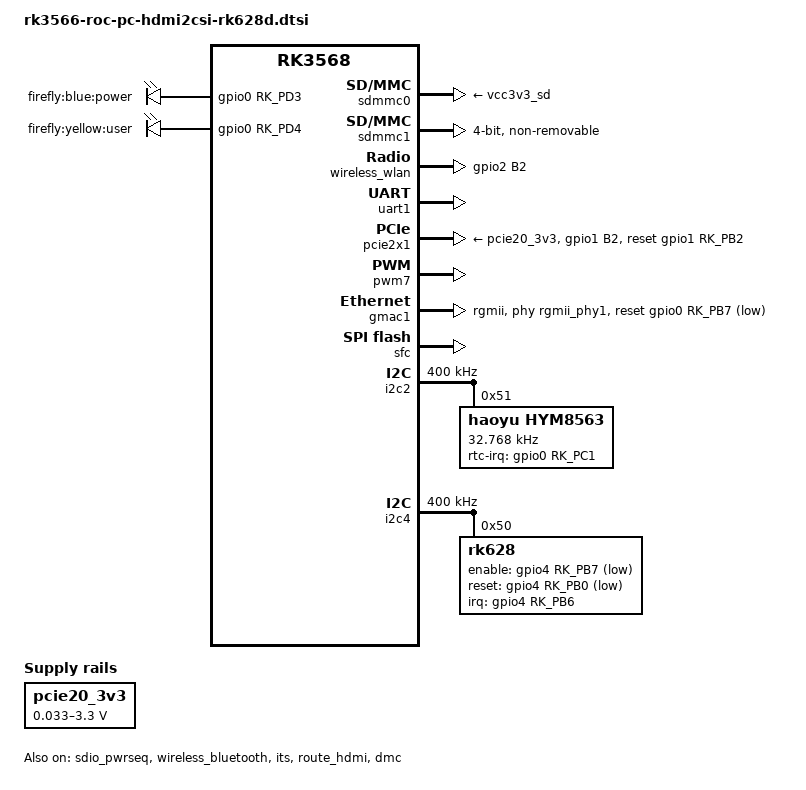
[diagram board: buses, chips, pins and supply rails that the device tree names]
// SPDX-License-Identifier: (GPL-2.0+ OR MIT)
/*
 * Copyright (c) 2020 Rockchip Electronics Co., Ltd.
 *
 */

#include "rk3568-firefly-port.dtsi"
#include "rk3566-diff.dtsi"

/ {
    /delete-node/ gpio-regulator;
	pcie20_3v3: gpio-regulator {
		compatible = "regulator-gpio";
		regulator-name = "pcie20_3v3";
		regulator-min-microvolt = <0100000>;
		regulator-max-microvolt = <3300000>;
		gpios = <&gpio0 RK_PC4 GPIO_ACTIVE_HIGH>;
		gpios-states = <0x1>;
		states = <0100000 0x0
			  3300000 0x1>;
	};
    firefly_leds: leds {
       compatible = "gpio-leds";
       power_led: power {
           label = "firefly:blue:power";
           linux,default-trigger = "ir-power-click";
           default-state = "on";
           gpios = <&gpio0 RK_PD3 GPIO_ACTIVE_HIGH>;
           pinctrl-names = "default";
           pinctrl-0 = <&led_power>;
       };
       user_led: user {
           label = "firefly:yellow:user";
           linux,default-trigger = "ir-user-click";
           default-state = "off";
           gpios = <&gpio0 RK_PD4 GPIO_ACTIVE_HIGH>;
           pinctrl-names = "default";
           pinctrl-0 = <&led_user>;
       };
   };

};

&rkcif_mipi_lvds {
        status = "disabled";
};

&rkcif_mmu {
        status = "okay";
};

&rkcif {
        status = "disabled";
};

/* USB vbus config  */
&vcc5v0_host {
    gpio = <&gpio0 RK_PA6 0>;
    pinctrl-names = "default";
    pinctrl-0 = <&vcc5v0_host_vbus_en>;
};
&vcc5v0_otg {
    status = "disabled";
};
&u2phy0_otg {
	/delete-property/ vbus-supply;
};

/* sdcard config */
&sdmmc0 {
    vmmc-supply=<&vcc3v3_sd>;
    //supports-emmc;
    status = "okay";
};

/* WiFi config */
&sdmmc1 {
    max-frequency = <150000000>;
    supports-sdio;
    bus-width = <4>;
    disable-wp;
    cap-sd-highspeed;
    cap-sdio-irq;
    keep-power-in-suspend;
    mmc-pwrseq = <&sdio_pwrseq>;
    non-removable;
    pinctrl-names = "default";
    pinctrl-0 = <&sdmmc1_bus4 &sdmmc1_cmd &sdmmc1_clk>;
    sd-uhs-sdr104;
    rockchip,default-sample-phase = <90>;
    status = "okay";
};

&sdio_pwrseq {
    reset-gpios = <&gpio2 RK_PB1 GPIO_ACTIVE_LOW>;
    status = "okay";
};

&wifi_enable_h {
    rockchip,pins = <2 RK_PB1 RK_FUNC_GPIO &pcfg_pull_none>;
};

// iomux with GPIO2_B2(WIFI,host_wake_irq)
&uart8 {
    status = "disabled";
};

&wireless_wlan {
    wifi_chip_type = "ap6256";
    pinctrl-names = "default";
    pinctrl-0 = <&wifi_host_wake_irq>;
    WIFI,host_wake_irq = <&gpio2 RK_PB2 0>;
    status = "okay";
};

/* BT config */
&uart1 {
    pinctrl-names = "default";
    pinctrl-0 = <&uart1m0_xfer &uart1m0_ctsn>;
    status = "okay";
};

&wireless_bluetooth {
    uart_rts_gpios = <&gpio2 RK_PB5 GPIO_ACTIVE_LOW>;
    pinctrl-names = "default", "rts_gpio";
    pinctrl-0 = <&uart1m0_rtsn
        &bt_host_wake_gpio
        &bt_poweren
        &bt_host_wake_irq>;
    pinctrl-1 = <&uart1_rts_gpio>;
    BT,reset_gpio    = <&gpio2 RK_PB7 GPIO_ACTIVE_HIGH>;
    BT,wake_gpio     = <&gpio2 RK_PC1 GPIO_ACTIVE_HIGH>;
    BT,wake_host_irq = <&gpio2 RK_PC0 GPIO_ACTIVE_HIGH>;
    status = "okay";
};

&rk809_codec {
    hp-ctl-gpios = <&gpio4 RK_PC3 GPIO_ACTIVE_HIGH>;
    /delete-property/ spk-ctl;
    io-channels = <&saradc 3>;
    hp-det-adc-value = <941>;
};

&spk_ctl_gpio{
    status = "disabled";
};
&can1{
	status = "disabled";
};

&pcie2x1 {
    reset-gpios = <&gpio1 RK_PB2 GPIO_ACTIVE_HIGH>;
    pinctrl-names = "default";
    pinctrl-0 = <&pcie_reset_gpio>;
    vpcie3v3-supply = <&pcie20_3v3>;
    status = "okay";
};

&its {
    status = "okay";
};

&pwm7 {
    status = "okay";
};

&pinctrl {
	usb {
		vcc5v0_host_vbus_en: vcc5v0-host-en {
			rockchip,pins = <0 RK_PA6 RK_FUNC_GPIO &pcfg_pull_none>;
		};
	};
	sd {
		sd_vcc3v3_power_en: sd-vcc3v3-power-en {
			rockchip,pins = <0 RK_PA5 RK_FUNC_GPIO &pcfg_pull_none>;
		};
	};

    wireless-wlan {
        wifi_host_wake_irq: wifi-host-wake-irq {
            rockchip,pins = <2 RK_PB2 RK_FUNC_GPIO &pcfg_pull_down>;
        };
    };

    wireless-bluetooth {
        uart1_rts_gpio: uart1-rts-gpio {
            rockchip,pins = <2  RK_PB5 RK_FUNC_GPIO &pcfg_pull_none>;
        };

        bt_host_wake_irq: bt-host-wake-irq {
            rockchip,pins = <2 RK_PC0 RK_FUNC_GPIO &pcfg_pull_down>;
        };
        bt_host_wake_gpio: bt-host-wake-gpio {
            rockchip,pins = <2 RK_PC1 RK_FUNC_GPIO &pcfg_pull_down>;
        };
        bt_poweren: bt-poweren {
            rockchip,pins = <2 RK_PB7 RK_FUNC_GPIO &pcfg_pull_down>;
        };
    };

    pcie {
        pcie_reset_gpio: pcie-reset-gpio {
			rockchip,pins = <1 RK_PB2 RK_FUNC_GPIO &pcfg_pull_none>;
		};
    };
    leds {
         led_power: led-power {
             rockchip,pins = <0 RK_PD3 RK_FUNC_GPIO &pcfg_pull_none>;
         };

         led_user: led-user {
             rockchip,pins = <0 RK_PD4 RK_FUNC_GPIO &pcfg_pull_none>;
         };
    };
};

&gmac1 {
    phy-mode = "rgmii";
    clock_in_out = "input";

    snps,reset-gpio = <&gpio0 RK_PB7 GPIO_ACTIVE_LOW>;
    snps,reset-active-low;
    /* Reset time is 20ms, 100ms for rtl8211f */
    snps,reset-delays-us = <0 20000 100000>;

    assigned-clocks = <&cru SCLK_GMAC1_RX_TX>, <&cru SCLK_GMAC1>;
    assigned-clock-parents = <&cru SCLK_GMAC1_RGMII_SPEED>, <&gmac1_clkin>;

    pinctrl-names = "default";
    pinctrl-0 = <&gmac1m0_miim
             &gmac1m0_tx_bus2
             &gmac1m0_rx_bus2
             &gmac1m0_rgmii_clk
             &gmac1m0_rgmii_bus
             &gmac1m0_clkinout>;

    tx_delay = <0x47>;
    rx_delay = <0x2e>;

    phy-handle = <&rgmii_phy1>;
    led_status_value = <0x2f60>;
    status = "okay";
};

&sfc{
     status = "okay";
 };

&i2c2 {
    status = "okay"; 
    clock-frequency = <400000>;
    pinctrl-0 = <&i2c2m0_xfer>;
    XC6130b: XC6130b@23{
        status = "disabled";
        compatible = "firefly,xc7022";
        reg = <0x23>;
            clocks = <&cru CLK_CIF_OUT>;
            clock-names = "xvclk";
            pinctrl-names = "rockchip,camera_default";
            pinctrl-0 = <&refclk_pins>;
            //power-gpios = <&pca9555 PCA_IO0_3 GPIO_ACTIVE_HIGH>;
            //reset-gpios = <&pca9555 PCA_IO0_5 GPIO_ACTIVE_HIGH>;
            //pwdn-gpios = <&pca9555 PCA_IO0_4 GPIO_ACTIVE_HIGH>;
            firefly,clkout-enabled-index = <0>;
            rockchip,camera-module-index = <1>;
            rockchip,camera-module-facing = "front";
            rockchip,camera-module-name = "NC";
            rockchip,camera-module-lens-name = "NC";
        port {
                xc6130b_out: endpoint {
                        remote-endpoint = <&dphy2_in>;
                        data-lanes = <1 2>;
                };
        };
    };

    XC7022b: XC7022b@1b{
        status = "disabled";
        compatible = "firefly,xc7022";
        reg = <0x1b>;
        clocks = <&cru CLK_CIF_OUT>;
        clock-names = "xvclk";
        //avdd-supply = <&vcc_mipi>;
        pinctrl-names = "rockchip,camera_default";
        pinctrl-0 = <&cif_clk>;
        mipi-pwr-gpios = <&gpio4 RK_PC1 GPIO_ACTIVE_HIGH>;
        reset-gpios = <&gpio4 RK_PB6 GPIO_ACTIVE_HIGH>;
        pwdn-gpios = <&gpio0 RK_PB4 GPIO_ACTIVE_HIGH>;

        //firefly,clkout-enabled-index = <0>;
        rockchip,camera-module-index = <1>;
        rockchip,camera-module-facing = "front";
        rockchip,camera-module-name = "NC";
        rockchip,camera-module-lens-name = "NC";
        port {
            xc7022b_out: endpoint {
                remote-endpoint = <&dphy1_in>;
                data-lanes = <1 2>;
            };
        };
    };
    hym8563: hym8563@51 {
		status = "okay";
		compatible = "haoyu,hym8563";
		reg = <0x51>;
		#clock-cells = <0>;
		rtc-irq-gpio = <&gpio0 RK_PC1 IRQ_TYPE_EDGE_FALLING>;
		clock-frequency = <32768>;
		//clock-output-names = "xin32k";
		/* rtc_int is not connected */
	};
};

&i2c5{
    /delete-node/ hym8563@51;
};

&i2c4{
    status = "okay"; 
    clock-frequency = <400000>;
    pinctrl-0 = <&i2c4m0_xfer>;
    /* rk628 */
    rk628: rk628@50 { 
        reg = <0x50 >; 
        interrupt-parent = <&gpio4>; 
        interrupts = <RK_PB6 IRQ_TYPE_LEVEL_HIGH>; 
        enable-gpios = <&gpio4 RK_PB7 GPIO_ACTIVE_LOW>; 
        reset-gpios = <&gpio4 RK_PB0 GPIO_ACTIVE_LOW>; 
        status = "okay"; 
    };
};
#include "rk628.dtsi"

&rk809 {
	rtc {
		status = "disabled";
	};
};
&route_hdmi{
    status = "okay";
    connect = <&vp0_out_hdmi>;
};
&dmc{
	status = "okay";
};
&reserved_memory {
	linux,cma {
		/delete-property/ size;
		reg = <0x0 0x08000000 0x0 0x00800000>;
	};
};
&cru{
    		assigned-clock-rates =
			<32768>, <300000000>,
			<300000000>, <200000000>,
			<100000000>, <1000000000>,
			<500000000>, <333000000>,
			<250000000>, <125000000>,
			<100000000>, <62500000>,
			<50000000>, <25000000>,
			<1300000000>,
			<150000000>, <100000000>,
			<500000000>, <400000000>,
			<150000000>, <100000000>,
			<300000000>, <150000000>,
			<1200000000>, <400000000>,
			<100000000>, <1188000000>,
			<1188000000>, <1188000000>,
			<1188000000>, <1188000000>,
			<1188000000>, <1188000000>,
			<1188000000>, <1188000000>,
			<500000000>;
};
